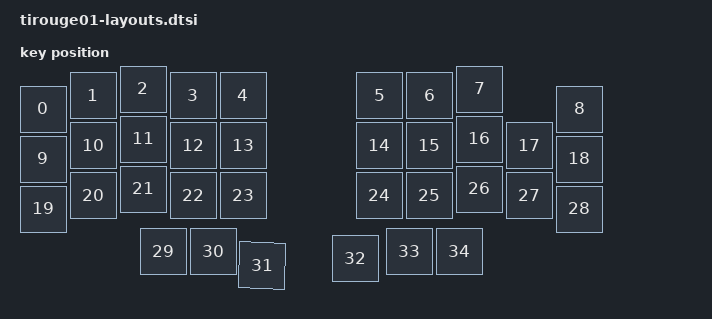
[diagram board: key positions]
#include <physical_layouts.dtsi>

/ {
     tirouge01_physical_layout: tirouge01_physical_layout {
        compatible = "zmk,physical-layout";
        display-name = "TiRouge01 Default Layout";

        kscan = <&kscan0>;
        transform = <&default_transform>;

        keys  //                     w   h    x    y   rot   rx  ry
            = <&key_physical_attrs  100 100    0  40     0    0   0>
            , <&key_physical_attrs  100 100  100  13     0    0   0>
            , <&key_physical_attrs  100 100  200   0     0    0   0>
            , <&key_physical_attrs  100 100  300  13     0    0   0>
            , <&key_physical_attrs  100 100  400  13     0    0   0>
            , <&key_physical_attrs  100 100  673  13     0    0   0>
            , <&key_physical_attrs  100 100  773  13     0    0   0>
            , <&key_physical_attrs  100 100  873   0     0    0   0>
            , <&key_physical_attrs  100 100 0973  13     0    0   0>
            , <&key_physical_attrs  100 100 1073  40     0    0   0>
            , <&key_physical_attrs  100 100    0 140     0    0   0>
            , <&key_physical_attrs  100 100  100 113     0    0   0>
            , <&key_physical_attrs  100 100  200 100     0    0   0>
            , <&key_physical_attrs  100 100  300 113     0    0   0>
            , <&key_physical_attrs  100 100  400 113     0    0   0>
            , <&key_physical_attrs  100 100  673 113     0    0   0>
            , <&key_physical_attrs  100 100  773 113     0    0   0>
            , <&key_physical_attrs  100 100  873 100     0    0   0>
            , <&key_physical_attrs  100 100  973 113     0    0   0>
            , <&key_physical_attrs  100 100 1073 140     0    0   0>
            , <&key_physical_attrs  100 100    0 240     0    0   0>
            , <&key_physical_attrs  100 100  100 213     0    0   0>
            , <&key_physical_attrs  100 100  200 200     0    0   0>
            , <&key_physical_attrs  100 100  300 213     0    0   0>
            , <&key_physical_attrs  100 100  400 213     0    0   0>
            , <&key_physical_attrs  100 100  673 213     0    0   0>
            , <&key_physical_attrs  100 100  773 213     0    0   0>
            , <&key_physical_attrs  100 100  873 200     0    0   0>
            , <&key_physical_attrs  100 100  973 213     0    0   0>
            , <&key_physical_attrs  100 100 1073 240     0    0   0>
            , <&key_physical_attrs  100 100  240 325     0    0   0>
            , <&key_physical_attrs  100 100  340 325     0    0   0>
            , <&key_physical_attrs  100 100  450 339   165    0   0>
            , <&key_physical_attrs  100 100  624 339     0    0   0>
            , <&key_physical_attrs  100 100  733 325     0    0   0>
            , <&key_physical_attrs  100 100  833 325     0    0   0>
            ;
    };
};
